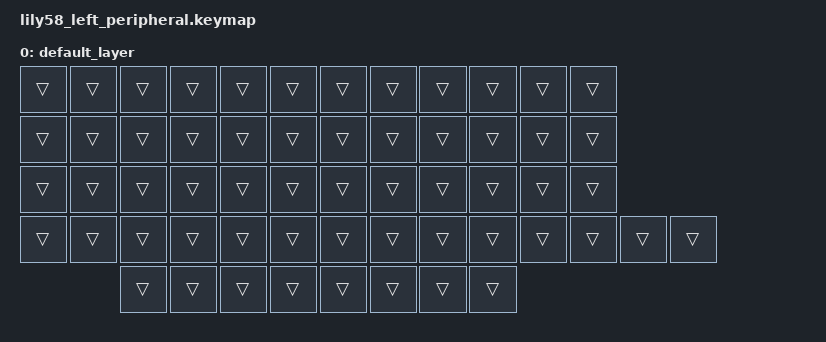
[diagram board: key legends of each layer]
/*
 * Stub keymap for lily58_left_peripheral.
 * This device is a split peripheral — the keymap is processed on the dongle (central).
 * All 58 bindings are transparent placeholders.
 */

#include <behaviors.dtsi>
#include <dt-bindings/zmk/keys.h>

/ {
    keymap {
        compatible = "zmk,keymap";

        default_layer {
            bindings = <
    &trans &trans &trans &trans &trans &trans   &trans &trans &trans &trans &trans &trans
    &trans &trans &trans &trans &trans &trans   &trans &trans &trans &trans &trans &trans
    &trans &trans &trans &trans &trans &trans   &trans &trans &trans &trans &trans &trans
    &trans &trans &trans &trans &trans &trans &trans   &trans &trans &trans &trans &trans &trans &trans
                  &trans &trans &trans &trans   &trans &trans &trans &trans
            >;
        };
    };
};
